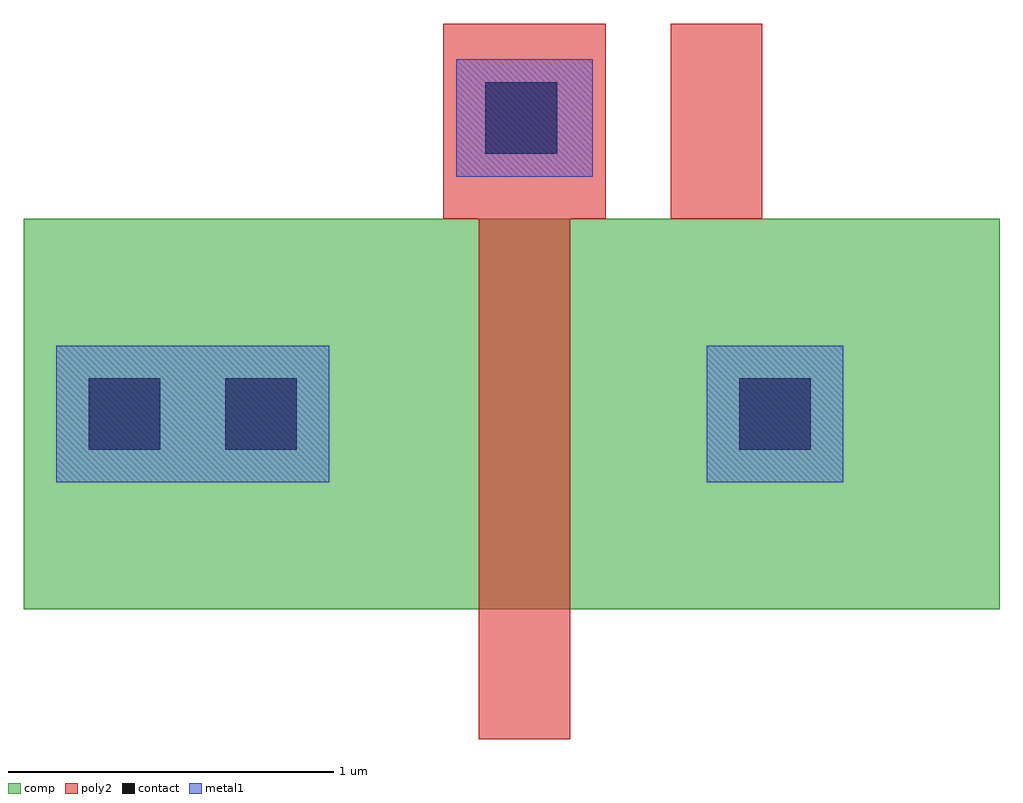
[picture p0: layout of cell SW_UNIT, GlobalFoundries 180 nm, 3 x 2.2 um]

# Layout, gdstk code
import gdstk
lib = gdstk.Library(unit=1e-6, precision=1e-09)
def R(c, l, rs):  # rectangles x0, y0, x1, y1
    for r in rs: c.add(gdstk.rectangle(r[:2], r[2:], *l))
comp = (22, 0)
poly2 = (30, 0)
contact = (33, 0)
metal1 = (34, 0)

sw_unit = lib.new_cell('SW_UNIT')
R(sw_unit, comp, [(0,0,3,1.2)])
R(sw_unit, poly2, [(1.4,-0.4,1.68,1.2), (1.29,1.2,1.79,1.8), (1.99,1.2,2.27,1.8)])
R(sw_unit, contact, [(0.2,0.49,0.42,0.71), (0.62,0.49,0.84,0.71), (2.2,0.49,2.42,0.71), (1.42,1.4,1.64,1.62)])
R(sw_unit, metal1, [(0.1,0.39,0.94,0.81), (2.1,0.39,2.52,0.81), (1.33,1.33,1.75,1.69)])

lib.write_gds('SW_UNIT.gds')
